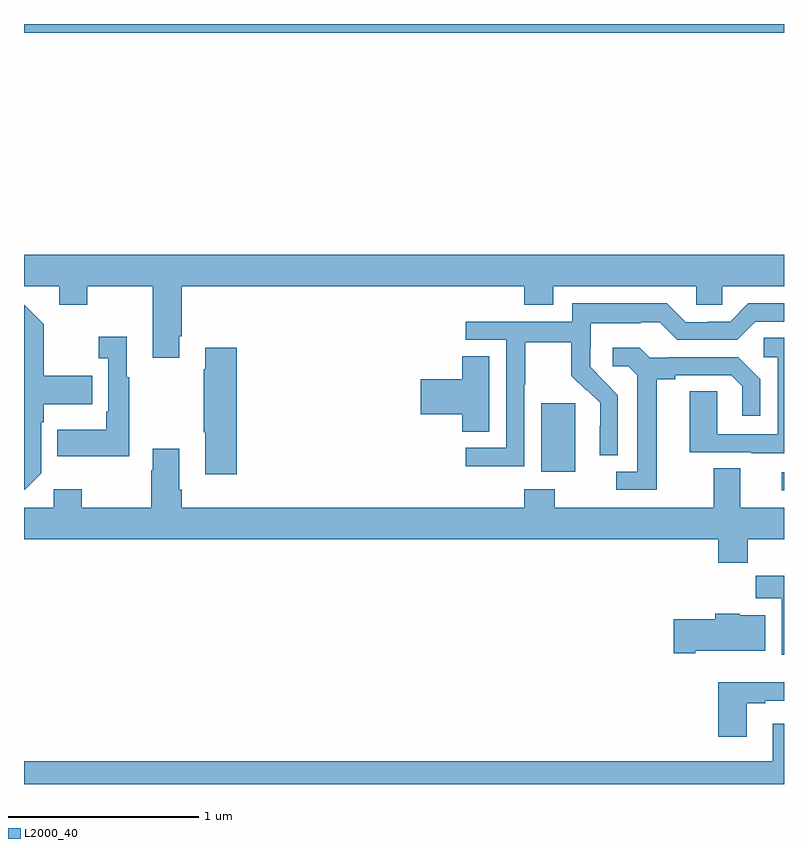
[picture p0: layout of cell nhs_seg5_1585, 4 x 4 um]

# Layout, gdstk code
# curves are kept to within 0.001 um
import gdstk
lib = gdstk.Library(unit=1e-6, precision=1e-09)
def R(c, l, rs):  # rectangles x0, y0, x1, y1
    for r in rs: c.add(gdstk.rectangle(r[:2], r[2:], *l))
def P(c, l, *ps):  # polygons
    for p in ps: c.add(gdstk.Polygon(p, *l))
L2000_40 = (2000, 40)

nhs_seg5_1585 = lib.new_cell('nhs_seg5_1585')
R(nhs_seg5_1585, L2000_40, [(210.987,862.344,211,862.44), (209.723,862.442,209.902,862.803), (207,864.752,211,864.799)])
P(nhs_seg5_1585, L2000_40, [(207.817,863.155),(207.83,863.155),(207.83,863.42),(209.633,863.42),(209.633,863.321),(209.785,863.321),(209.785,863.42),(210.537,863.42),(210.537,863.322),(210.675,863.322),(210.675,863.42),(211,863.42),(211,863.584),(207,863.584),(207,863.42),(207.185,863.42),(207.185,863.321),(207.333,863.321),(207.333,863.42),(207.677,863.42),(207.677,863.043),(207.817,863.043)],
  [(209.634,862.9),(209.637,862.9),(209.637,863.124),(209.881,863.124),(209.881,862.949),(209.958,862.872),(209.961,862.875),(210.032,862.805),(210.032,862.682),(210.03,862.682),(210.03,862.528),(210.126,862.528),(210.126,862.846),(209.98,862.994),(209.98,863.091),(209.982,863.091),(209.982,863.225),(210.245,863.225),(210.245,863.229),(210.345,863.229),(210.438,863.136),(210.753,863.136),(210.849,863.232),(211,863.232),(211,863.328),(210.813,863.328),(210.717,863.232),(210.599,863.232),(210.599,863.229),(210.483,863.229),(210.383,863.329),(209.886,863.329),(209.886,863.232),(209.325,863.232),(209.325,863.136),(209.538,863.136),(209.538,862.569),(209.325,862.569),(209.325,862.471),(209.634,862.471)],
  [(207.09,862.434),(207.09,862.703),(207.103,862.703),(207.103,862.799),(207.359,862.799),(207.359,862.947),(207.103,862.947),(207.103,863.219),(207,863.322),(207,862.347),(207.003,862.347)],
  [(207.553,862.939),(207.541,862.939),(207.541,863.152),(207.393,863.152),(207.393,863.039),(207.444,863.039),(207.444,862.759),(207.432,862.759),(207.432,862.663),(207.175,862.663),(207.175,862.523),(207.553,862.523)],
  [(211,863.147),(210.894,863.147),(210.894,863.046),(210.966,863.046),(210.966,862.641),(210.648,862.641),(210.648,862.865),(210.503,862.865),(210.503,862.545),(210.827,862.545),(210.827,862.541),(211,862.541)],
  [(210.331,862.928),(210.427,862.928),(210.427,862.95),(210.722,862.95),(210.779,862.893),(210.779,862.737),(210.876,862.737),(210.876,862.93),(210.76,863.046),(210.388,863.046),(210.388,863.043),(210.294,863.043),(210.242,863.095),(210.099,863.095),(210.099,862.998),(210.18,862.998),(210.227,862.951),(210.227,862.443),(210.117,862.443),(210.117,862.347),(210.331,862.347)],
  [(208.121,863.095),(207.953,863.095),(207.953,862.982),(207.946,862.982),(207.946,862.651),(207.953,862.651),(207.953,862.428),(208.121,862.428)],
  [(209.449,863.051),(209.306,863.051),(209.306,862.928),(209.088,862.928),(209.088,862.745),(209.306,862.745),(209.306,862.654),(209.449,862.654)],
  [(210.629,862.252),(209.793,862.252),(209.793,862.351),(209.633,862.351),(209.633,862.252),(207.83,862.252),(207.83,862.348),(207.817,862.348),(207.817,862.564),(207.677,862.564),(207.677,862.451),(207.67,862.451),(207.67,862.252),(207.303,862.252),(207.303,862.351),(207.156,862.351),(207.156,862.252),(207,862.252),(207,862.088),(210.653,862.088),(210.653,861.964),(210.809,861.964),(210.809,862.088),(211,862.088),(211,862.252),(210.769,862.252),(210.769,862.46),(210.629,862.46)],
  [(211,861.895),(210.85,861.895),(210.85,861.776),(210.989,861.776),(210.989,861.48),(211,861.48)],
  [(210.532,861.5),(210.901,861.5),(210.901,861.688),(210.768,861.688),(210.768,861.694),(210.638,861.694),(210.638,861.666),(210.42,861.666),(210.42,861.488),(210.532,861.488)],
  [(210.805,861.225),(210.901,861.225),(210.901,861.237),(211,861.237),(211,861.334),(210.653,861.334),(210.653,861.048),(210.805,861.048)],
  [(211,861.115),(210.941,861.115),(210.941,860.92),(207,860.92),(207,860.799),(211,860.799)])

lib.write_gds('nhs_seg5_1585.gds')
